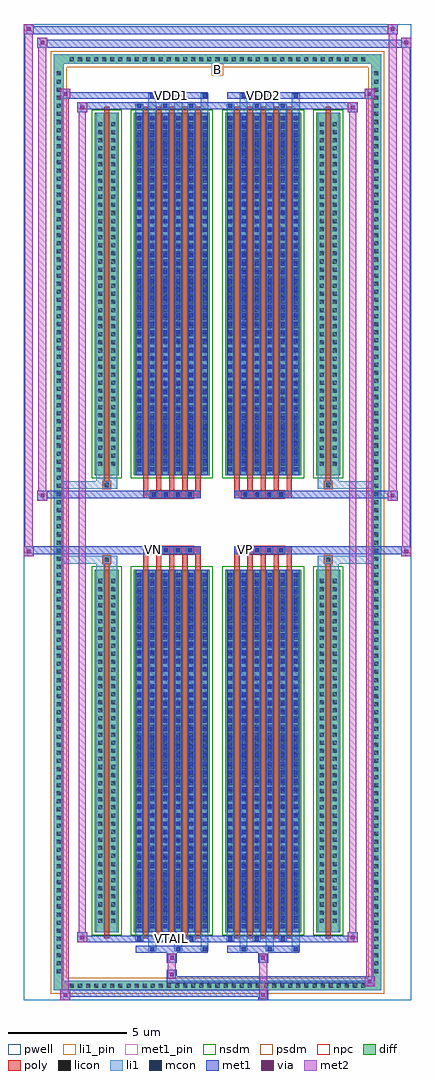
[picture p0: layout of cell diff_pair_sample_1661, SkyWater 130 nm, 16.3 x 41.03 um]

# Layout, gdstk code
import gdstk
lib = gdstk.Library(unit=1e-6, precision=5e-09)
def R(c, l, rs):  # rectangles x0, y0, x1, y1
    for r in rs: c.add(gdstk.rectangle(r[:2], r[2:], *l))
def A(c, l, x, y, w, h, nx, ny, dx, dy):  # array of equal rectangles
    R(c, l, [(x+i*dx, y+j*dy, x+i*dx+w, y+j*dy+h) for i in range(nx) for j in range(ny)])
def P(c, l, *ps):  # polygons
    for p in ps: c.add(gdstk.Polygon(p, *l))
pwell = (64, 44)
diff = (65, 20)
poly = (66, 20)
licon = (66, 44)
li1_pin = (67, 16)
li1 = (67, 20)
mcon = (67, 44)
met1_pin = (68, 16)
met1 = (68, 20)
via = (68, 44)
met2 = (69, 20)
nsdm = (93, 44)
psdm = (94, 20)
npc = (95, 20)

diff_pair_sample_1661 = lib.new_cell('diff_pair_sample_1661')
R(diff_pair_sample_1661, pwell, [(-8.15,-20.08,8.15,20.95), (-5.47,-18.27,-0.01,-0.805), (0.01,-18.27,5.47,-0.805), (-5.47,0.805,-0.01,18.27), (0.01,0.805,5.47,18.27)])
A(diff_pair_sample_1661, diff, -6.325, -19.68, 0.41, 0.41, 37, 2, 0.34, 38.95)
A(diff_pair_sample_1661, diff, -6.88, -19.075, 0.41, 0.41, 1, 112, 0, 0.34)
A(diff_pair_sample_1661, diff, 6.47, -19.075, 0.41, 0.41, 1, 112, 0, 0.34)
R(diff_pair_sample_1661, diff, [(-6.325,-19.68,6.325,-19.27), (-6.88,-19.075,-6.47,19.075), (6.47,-19.075,6.88,19.075), (-5.16,-17.225,-4.16,-1.985), (-3.52,-17.225,-0.32,-1.985), (0.32,-17.225,3.52,-1.985), (4.16,-17.225,5.16,-1.985), (-5.16,1.985,-4.16,17.225), (-3.52,1.985,-0.32,17.225), (0.32,1.985,3.52,17.225), (4.16,1.985,5.16,17.225), (-6.325,19.27,6.325,19.68)])
P(diff_pair_sample_1661, diff, [(6.88,19.68),(-6.88,19.68),(-6.88,-19.27),(-6.47,-19.27),(-6.47,19.27),(6.47,19.27),(6.47,-19.27),(-6.47,-19.27),(-6.88,-19.27),(-6.88,-19.68),(6.88,-19.68)])
A(diff_pair_sample_1661, poly, -3.13, -17.475, 0.22, 15.74, 5, 2, 0.55, 19.21)
A(diff_pair_sample_1661, poly, 0.71, -17.475, 0.22, 15.74, 5, 2, 0.55, 19.21)
A(diff_pair_sample_1661, poly, -3.13, -1.735, 0.22, 0.4, 5, 2, 0.55, 3.07)
A(diff_pair_sample_1661, poly, 0.71, -1.735, 0.22, 0.4, 5, 2, 0.55, 3.07)
A(diff_pair_sample_1661, poly, -2.835, -1.335, 0.33, 0.33, 4, 2, 0.5, 2.34)
A(diff_pair_sample_1661, poly, 1.005, -1.335, 0.33, 0.33, 4, 2, 0.5, 2.34)
R(diff_pair_sample_1661, poly, [(-4.77,-17.475,-4.55,-1.735), (4.55,-17.475,4.77,-1.735), (-4.825,-1.735,-4.495,-1.405), (-4.825,-1.735,-4.495,-1.405), (4.495,-1.735,4.825,-1.405), (4.495,-1.735,4.825,-1.405), (-3.13,-1.335,-0.71,-1.005), (0.71,-1.335,3.13,-1.005), (-3.13,1.005,-0.71,1.335), (0.71,1.005,3.13,1.335), (-4.825,1.405,-4.495,1.735), (-4.825,1.405,-4.495,1.735), (4.495,1.405,4.825,1.735), (4.495,1.405,4.825,1.735), (-4.77,1.735,-4.55,17.475), (4.55,1.735,4.77,17.475)])
A(diff_pair_sample_1661, licon, -6.205, -19.56, 0.17, 0.17, 37, 2, 0.34, 38.95)
A(diff_pair_sample_1661, licon, -6.76, -18.955, 0.17, 0.17, 1, 112, 0, 0.34)
A(diff_pair_sample_1661, licon, 6.59, -18.955, 0.17, 0.17, 1, 112, 0, 0.34)
A(diff_pair_sample_1661, licon, -5.02, -16.83, 0.17, 0.17, 1, 43, 0, 0.34)
A(diff_pair_sample_1661, licon, -4.47, -16.83, 0.17, 0.17, 1, 43, 0, 0.34)
A(diff_pair_sample_1661, licon, -3.38, -16.83, 0.17, 0.17, 6, 43, 0.55, 0.34)
A(diff_pair_sample_1661, licon, 0.46, -16.83, 0.17, 0.17, 6, 43, 0.55, 0.34)
A(diff_pair_sample_1661, licon, 4.3, -16.83, 0.17, 0.17, 1, 43, 0, 0.34)
A(diff_pair_sample_1661, licon, 4.85, -16.83, 0.17, 0.17, 1, 43, 0, 0.34)
A(diff_pair_sample_1661, licon, -2.755, -1.255, 0.17, 0.17, 4, 2, 0.5, 2.34)
A(diff_pair_sample_1661, licon, 1.085, -1.255, 0.17, 0.17, 4, 2, 0.5, 2.34)
A(diff_pair_sample_1661, licon, -5.02, 2.38, 0.17, 0.17, 1, 43, 0, 0.34)
A(diff_pair_sample_1661, licon, -4.47, 2.38, 0.17, 0.17, 1, 43, 0, 0.34)
A(diff_pair_sample_1661, licon, -3.38, 2.38, 0.17, 0.17, 6, 43, 0.55, 0.34)
A(diff_pair_sample_1661, licon, 0.46, 2.38, 0.17, 0.17, 6, 43, 0.55, 0.34)
A(diff_pair_sample_1661, licon, 4.3, 2.38, 0.17, 0.17, 1, 43, 0, 0.34)
A(diff_pair_sample_1661, licon, 4.85, 2.38, 0.17, 0.17, 1, 43, 0, 0.34)
R(diff_pair_sample_1661, licon, [(-4.745,-1.655,-4.575,-1.485), (4.575,-1.655,4.745,-1.485), (-4.745,1.485,-4.575,1.655), (4.575,1.485,4.745,1.655)])
R(diff_pair_sample_1661, li1_pin, [(-0.25,18.77,0.25,19.27)])
A(diff_pair_sample_1661, li1, -6.285, -19.64, 0.33, 0.33, 37, 2, 0.34, 38.95)
A(diff_pair_sample_1661, li1, -6.84, -19.035, 0.33, 0.33, 1, 112, 0, 0.34)
A(diff_pair_sample_1661, li1, 6.51, -19.035, 0.33, 0.33, 1, 112, 0, 0.34)
A(diff_pair_sample_1661, li1, -2.91, -18.03, 0.33, 0.805, 3, 2, 1.1, 35.255)
A(diff_pair_sample_1661, li1, -2.83, -18.03, 0.17, 0.17, 3, 2, 1.1, 35.89)
A(diff_pair_sample_1661, li1, 0.93, -18.03, 0.33, 0.805, 3, 2, 1.1, 35.255)
A(diff_pair_sample_1661, li1, 1.01, -18.03, 0.17, 0.17, 3, 2, 1.1, 35.89)
A(diff_pair_sample_1661, li1, -3.46, -17.6, 0.33, 0.375, 3, 2, 1.1, 34.825)
A(diff_pair_sample_1661, li1, -3.38, -17.6, 0.17, 0.17, 3, 2, 1.1, 35.03)
A(diff_pair_sample_1661, li1, 0.38, -17.6, 0.33, 0.375, 3, 2, 1.1, 34.825)
A(diff_pair_sample_1661, li1, 0.46, -17.6, 0.17, 0.17, 3, 2, 1.1, 35.03)
A(diff_pair_sample_1661, li1, -3.46, -17.225, 0.33, 15.24, 6, 2, 0.55, 19.21)
A(diff_pair_sample_1661, li1, 0.38, -17.225, 0.33, 15.24, 6, 2, 0.55, 19.21)
A(diff_pair_sample_1661, li1, -3.38, -17.07, 0.17, 0.17, 6, 42, 0.55, 0.36)
A(diff_pair_sample_1661, li1, -3.38, -17.07, 0.17, 14.93, 6, 2, 0.55, 19.21)
A(diff_pair_sample_1661, li1, 0.46, -17.07, 0.17, 0.17, 6, 42, 0.55, 0.36)
A(diff_pair_sample_1661, li1, 0.46, -17.07, 0.17, 14.93, 6, 2, 0.55, 19.21)
A(diff_pair_sample_1661, li1, -5.1, -16.91, 0.33, 0.33, 1, 43, 0, 0.34)
A(diff_pair_sample_1661, li1, -4.55, -16.91, 0.33, 0.33, 1, 43, 0, 0.34)
A(diff_pair_sample_1661, li1, -3.46, -16.91, 0.33, 0.33, 6, 43, 0.55, 0.34)
A(diff_pair_sample_1661, li1, 0.38, -16.91, 0.33, 0.33, 6, 43, 0.55, 0.34)
A(diff_pair_sample_1661, li1, 4.22, -16.91, 0.33, 0.33, 1, 43, 0, 0.34)
A(diff_pair_sample_1661, li1, 4.77, -16.91, 0.33, 0.33, 1, 43, 0, 0.34)
A(diff_pair_sample_1661, li1, -2.835, -1.335, 0.33, 0.33, 4, 2, 0.5, 2.34)
A(diff_pair_sample_1661, li1, 1.005, -1.335, 0.33, 0.33, 4, 2, 0.5, 2.34)
A(diff_pair_sample_1661, li1, -3.38, 2.14, 0.17, 0.17, 6, 42, 0.55, 0.36)
A(diff_pair_sample_1661, li1, 0.46, 2.14, 0.17, 0.17, 6, 42, 0.55, 0.36)
A(diff_pair_sample_1661, li1, -5.1, 2.3, 0.33, 0.33, 1, 43, 0, 0.34)
A(diff_pair_sample_1661, li1, -4.55, 2.3, 0.33, 0.33, 1, 43, 0, 0.34)
A(diff_pair_sample_1661, li1, -3.46, 2.3, 0.33, 0.33, 6, 43, 0.55, 0.34)
A(diff_pair_sample_1661, li1, 0.38, 2.3, 0.33, 0.33, 6, 43, 0.55, 0.34)
A(diff_pair_sample_1661, li1, 4.22, 2.3, 0.33, 0.33, 1, 43, 0, 0.34)
A(diff_pair_sample_1661, li1, 4.77, 2.3, 0.33, 0.33, 1, 43, 0, 0.34)
R(diff_pair_sample_1661, li1, [(-6.88,-19.68,-6.47,-19.27), (-6.88,-19.68,-6.47,-19.27), (-6.47,-19.68,6.47,-19.27), (6.47,-19.68,6.88,-19.27), (6.47,-19.68,6.88,-19.27), (-6.88,-19.27,-6.47,19.27), (6.47,-19.27,6.88,19.27), (-5.1,-17.225,-4.77,-1.985), (-4.55,-17.225,-4.22,-1.985), (4.22,-17.225,4.55,-1.985), (4.77,-17.225,5.1,-1.985), (-5.1,-1.985,-4.77,-1.405), (-4.55,-1.985,-4.22,-1.405), (4.22,-1.985,4.55,-1.405), (4.77,-1.985,5.1,-1.405), (-6.88,-1.735,-4.825,-1.405), (-5.1,-1.735,-4.825,-1.405), (-4.825,-1.735,-4.495,-1.405), (-4.495,-1.735,-4.22,-1.405), (4.22,-1.735,4.495,-1.405), (4.495,-1.735,4.825,-1.405), (4.495,-1.735,6.88,-1.405), (4.825,-1.735,5.1,-1.405), (-6.88,1.405,-4.825,1.735), (-5.1,1.405,-4.825,1.735), (-5.1,1.405,-4.77,1.985), (-4.825,1.405,-4.495,1.735), (-4.55,1.405,-4.22,1.985), (-4.495,1.405,-4.22,1.735), (4.22,1.405,4.495,1.735), (4.22,1.405,4.55,1.985), (4.495,1.405,4.825,1.735), (4.495,1.405,6.88,1.735), (4.77,1.405,5.1,1.985), (4.825,1.405,5.1,1.735), (-5.1,1.985,-4.77,17.225), (-4.55,1.985,-4.22,17.225), (4.22,1.985,4.55,17.225), (4.77,1.985,5.1,17.225), (-6.88,19.27,-6.47,19.68), (-6.88,19.27,-6.47,19.68), (-6.47,19.27,6.47,19.68), (6.47,19.27,6.88,19.68), (6.47,19.27,6.88,19.68)])
A(diff_pair_sample_1661, mcon, -2.83, -18.03, 0.17, 0.17, 3, 2, 1.1, 35.89)
A(diff_pair_sample_1661, mcon, 1.01, -18.03, 0.17, 0.17, 3, 2, 1.1, 35.89)
A(diff_pair_sample_1661, mcon, -3.38, -17.6, 0.17, 0.17, 3, 2, 1.1, 35.03)
A(diff_pair_sample_1661, mcon, 0.46, -17.6, 0.17, 0.17, 3, 2, 1.1, 35.03)
A(diff_pair_sample_1661, mcon, -3.38, -17.07, 0.17, 0.17, 6, 42, 0.55, 0.36)
A(diff_pair_sample_1661, mcon, 0.46, -17.07, 0.17, 0.17, 6, 42, 0.55, 0.36)
A(diff_pair_sample_1661, mcon, -2.755, -1.255, 0.17, 0.17, 4, 2, 0.5, 2.34)
A(diff_pair_sample_1661, mcon, 1.085, -1.255, 0.17, 0.17, 4, 2, 0.5, 2.34)
A(diff_pair_sample_1661, mcon, -3.38, 2.14, 0.17, 0.17, 6, 42, 0.55, 0.36)
A(diff_pair_sample_1661, mcon, 0.46, 2.14, 0.17, 0.17, 6, 42, 0.55, 0.36)
R(diff_pair_sample_1661, met1_pin, [(-2.055,-17.64,-1.785,-17.37), (-2.805,-1.295,-2.535,-1.025), (1.035,-1.295,1.305,-1.025), (-2.055,17.82,-1.785,18.09), (1.785,17.82,2.055,18.09)])
A(diff_pair_sample_1661, met1, -2.89, -18.09, 0.29, 0.29, 3, 2, 1.1, 35.89)
A(diff_pair_sample_1661, met1, 0.95, -18.09, 0.29, 0.29, 3, 2, 1.1, 35.89)
A(diff_pair_sample_1661, met1, -3.44, -17.66, 0.29, 0.29, 3, 2, 1.1, 35.03)
A(diff_pair_sample_1661, met1, 0.4, -17.66, 0.29, 0.29, 3, 2, 1.1, 35.03)
A(diff_pair_sample_1661, met1, -3.44, -17.225, 0.29, 15.24, 6, 2, 0.55, 19.21)
A(diff_pair_sample_1661, met1, 0.4, -17.225, 0.29, 15.24, 6, 2, 0.55, 19.21)
A(diff_pair_sample_1661, met1, -3.44, -17.13, 0.29, 0.29, 6, 42, 0.55, 0.36)
A(diff_pair_sample_1661, met1, 0.4, -17.13, 0.29, 0.29, 6, 42, 0.55, 0.36)
A(diff_pair_sample_1661, met1, -2.815, -1.315, 0.29, 0.29, 4, 2, 0.5, 2.34)
A(diff_pair_sample_1661, met1, 1.025, -1.315, 0.29, 0.29, 4, 2, 0.5, 2.34)
A(diff_pair_sample_1661, met1, -3.44, 2.08, 0.29, 0.29, 6, 42, 0.55, 0.36)
A(diff_pair_sample_1661, met1, 0.4, 2.08, 0.29, 0.29, 6, 42, 0.55, 0.36)
R(diff_pair_sample_1661, met1, [(-6.61,-20.08,-6.18,-19.65), (1.705,-20.08,2.135,-19.65), (-6.61,-19.94,2.135,-19.65), (6.18,-19.51,6.61,-19.08), (-2.135,-19.37,6.61,-19.08), (-2.135,-19.23,-1.705,-18.8), (-2.135,-18.52,-1.705,-18.09), (1.705,-18.52,2.135,-18.09), (-3.44,-18.09,-0.4,-17.8), (0.4,-18.09,3.44,-17.8), (-5.9,-17.66,-5.47,-17.23), (-5.9,-17.66,-3.44,-17.37), (-3.44,-17.66,-0.4,-17.37), (-0.4,-17.66,0.4,-17.37), (0.4,-17.66,3.44,-17.37), (3.44,-17.66,5.9,-17.37), (5.47,-17.66,5.9,-17.23), (-8.15,-1.435,-7.72,-1.005), (7.72,-1.435,8.15,-1.005), (-8.15,-1.335,-0.71,-1.005), (-3.13,-1.335,-0.71,-1.005), (0.71,-1.335,3.13,-1.005), (0.71,-1.335,8.15,-1.005), (-7.58,0.905,-7.15,1.335), (7.15,0.905,7.58,1.335), (-7.58,1.005,-3.13,1.335), (-3.13,1.005,-0.71,1.335), (0.71,1.005,3.13,1.335), (3.13,1.005,7.58,1.335), (-5.9,17.23,-5.47,17.66), (5.47,17.23,5.9,17.66), (-5.9,17.37,-3.44,17.66), (-3.44,17.37,-0.4,17.66), (-0.4,17.37,0.4,17.66), (0.4,17.37,3.44,17.66), (3.44,17.37,5.9,17.66), (-6.61,17.8,-6.18,18.23), (-6.61,17.8,-3.44,18.09), (-3.44,17.8,-0.4,18.09), (0.4,17.8,3.44,18.09), (3.44,17.8,6.61,18.09), (6.18,17.8,6.61,18.23), (-7.58,19.95,-7.15,20.38), (-7.58,19.95,-5.47,20.28), (-5.47,19.95,5.47,20.28), (5.47,19.95,8.15,20.28), (7.72,19.95,8.15,20.38), (-8.15,20.52,-7.72,20.95), (-8.15,20.52,-5.47,20.85), (-5.47,20.52,5.47,20.85), (5.47,20.52,7.58,20.85), (7.15,20.52,7.58,20.95)])
R(diff_pair_sample_1661, via, [(-6.47,-19.94,-6.32,-19.79), (1.845,-19.94,1.995,-19.79), (6.32,-19.37,6.47,-19.22), (-1.995,-19.09,-1.845,-18.94), (-1.995,-18.38,-1.845,-18.23), (1.845,-18.38,1.995,-18.23), (-5.76,-17.52,-5.61,-17.37), (5.61,-17.52,5.76,-17.37), (-8.01,-1.295,-7.86,-1.145), (7.86,-1.295,8.01,-1.145), (-7.44,1.045,-7.29,1.195), (7.29,1.045,7.44,1.195), (-5.76,17.37,-5.61,17.52), (5.61,17.37,5.76,17.52), (-6.47,17.94,-6.32,18.09), (6.32,17.94,6.47,18.09), (-7.44,20.09,-7.29,20.24), (7.86,20.09,8.01,20.24), (-8.01,20.66,-7.86,20.81), (7.29,20.66,7.44,20.81)])
R(diff_pair_sample_1661, met2, [(-6.61,-20.08,-6.18,-19.65), (-6.54,-20.08,-6.25,18.23), (-6.25,-20.08,-6.18,-19.65), (-6.56,-20.03,-6.23,-19.7), (1.755,-20.03,2.085,-19.7), (1.755,-19.7,2.085,-18.47), (6.18,-19.51,6.61,-19.08), (6.25,-19.51,6.54,18.23), (6.54,-19.51,6.61,-19.08), (6.23,-19.46,6.56,-19.13), (-2.085,-19.18,-1.755,-18.85), (-2.085,-18.85,-1.755,-18.47), (-2.085,-18.47,-1.755,-18.14), (1.755,-18.47,2.085,-18.14), (-5.9,-17.66,-5.47,-17.23), (-5.83,-17.66,-5.54,17.66), (-5.54,-17.66,-5.47,-17.23), (5.47,-17.66,5.9,-17.23), (5.54,-17.66,5.83,17.66), (5.83,-17.66,5.9,-17.23), (-5.85,-17.61,-5.52,-17.28), (5.52,-17.61,5.85,-17.28), (-8.15,-1.435,-7.72,-1.005), (-8.1,-1.435,-7.77,20.95), (-7.77,-1.435,-7.72,-1.005), (7.72,-1.435,8.15,-1.005), (7.77,-1.435,8.1,20.38), (8.1,-1.435,8.15,-1.005), (-8.1,-1.385,-7.77,-1.055), (7.77,-1.385,8.1,-1.055), (-7.58,0.905,-7.15,1.335), (-7.53,0.905,-7.2,20.38), (-7.2,0.905,-7.15,1.335), (7.15,0.905,7.58,1.335), (7.2,0.905,7.53,20.95), (7.53,0.905,7.58,1.335), (-7.53,0.955,-7.2,1.285), (7.2,0.955,7.53,1.285), (-5.9,17.23,-5.47,17.66), (-5.54,17.23,-5.47,17.66), (5.47,17.23,5.9,17.66), (5.83,17.23,5.9,17.66), (-5.85,17.28,-5.52,17.61), (5.52,17.28,5.85,17.61), (-6.61,17.8,-6.18,18.23), (-6.25,17.8,-6.18,18.23), (6.18,17.8,6.61,18.23), (6.54,17.8,6.61,18.23), (-6.56,17.85,-6.23,18.18), (6.23,17.85,6.56,18.18), (-7.58,19.95,-7.15,20.38), (-7.2,19.95,-7.15,20.38), (7.72,19.95,8.15,20.38), (8.1,19.95,8.15,20.38), (-7.53,20,-7.2,20.33), (7.77,20,8.1,20.33), (-8.15,20.52,-7.72,20.95), (-7.77,20.52,-7.72,20.95), (7.15,20.52,7.58,20.95), (7.53,20.52,7.58,20.95), (-8.1,20.57,-7.77,20.9), (7.2,20.57,7.53,20.9)])
R(diff_pair_sample_1661, nsdm, [(-5.29,-17.355,-4.03,-1.855), (-3.65,-17.355,-0.19,-1.855), (0.19,-17.355,3.65,-1.855), (4.03,-17.355,5.29,-1.855), (-5.29,1.855,-4.03,17.355), (-3.65,1.855,-0.19,17.355), (0.19,1.855,3.65,17.355), (4.03,1.855,5.29,17.355)])
P(diff_pair_sample_1661, psdm, [(7.01,19.81),(-7.01,19.81),(-7.01,-19.14),(-6.34,-19.14),(-6.34,19.14),(6.34,19.14),(6.34,-19.14),(-6.34,-19.14),(-7.01,-19.14),(-7.01,-19.81),(7.01,-19.81)])
A(diff_pair_sample_1661, npc, -2.855, -1.355, 0.37, 0.37, 4, 2, 0.5, 2.34)
A(diff_pair_sample_1661, npc, 0.985, -1.355, 0.37, 0.37, 4, 2, 0.5, 2.34)
R(diff_pair_sample_1661, npc, [(-4.845,-1.755,-4.475,-1.385), (4.475,-1.755,4.845,-1.385), (-2.855,-1.355,-1.985,-0.985), (-2.855,-1.355,-1.985,-0.985), (-2.355,-1.355,-1.485,-0.985), (-2.355,-1.355,-1.485,-0.985), (-1.855,-1.355,-0.985,-0.985), (-1.855,-1.355,-0.985,-0.985), (0.985,-1.355,1.855,-0.985), (0.985,-1.355,1.855,-0.985), (1.485,-1.355,2.355,-0.985), (1.485,-1.355,2.355,-0.985), (1.985,-1.355,2.855,-0.985), (1.985,-1.355,2.855,-0.985), (-2.855,0.985,-1.985,1.355), (-2.855,0.985,-1.985,1.355), (-2.355,0.985,-1.485,1.355), (-2.355,0.985,-1.485,1.355), (-1.855,0.985,-0.985,1.355), (-1.855,0.985,-0.985,1.355), (0.985,0.985,1.855,1.355), (0.985,0.985,1.855,1.355), (1.485,0.985,2.355,1.355), (1.485,0.985,2.355,1.355), (1.985,0.985,2.855,1.355), (1.985,0.985,2.855,1.355), (-4.845,1.385,-4.475,1.755), (4.475,1.385,4.845,1.755)])
diff_pair_sample_1661.add(gdstk.Label('VTAIL', (-1.92,-17.505), layer=68, texttype=5))
diff_pair_sample_1661.add(gdstk.Label('VN', (-2.67,-1.16), layer=68, texttype=5))
diff_pair_sample_1661.add(gdstk.Label('VP', (1.17,-1.16), layer=68, texttype=5))
diff_pair_sample_1661.add(gdstk.Label('B', (0,19.02), layer=67, texttype=5))
diff_pair_sample_1661.add(gdstk.Label('VDD2', (1.92,17.955), layer=68, texttype=5))
diff_pair_sample_1661.add(gdstk.Label('VDD1', (-1.92,17.955), layer=68, texttype=5))

lib.write_gds('diff_pair_sample_1661.gds')
